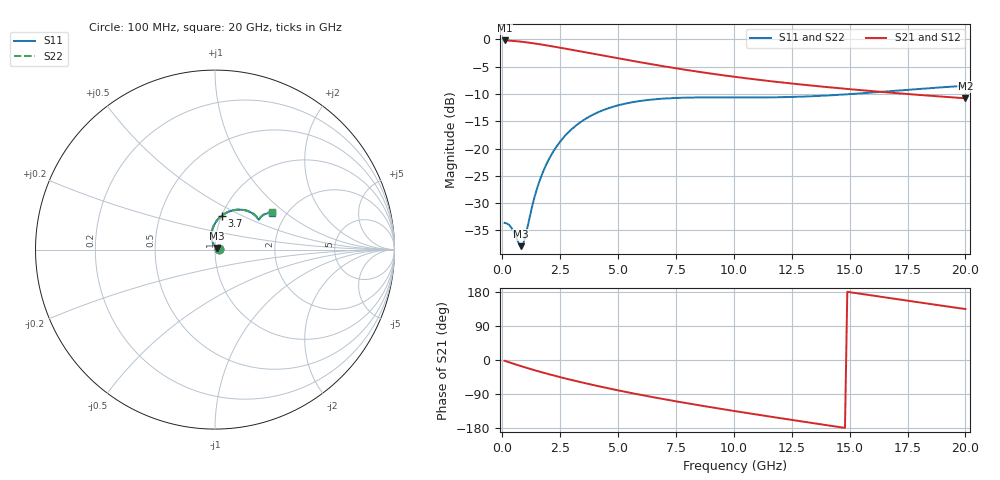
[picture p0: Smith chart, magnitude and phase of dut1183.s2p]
! Touchstone file exported from HFSS 2024.1.0
!  File:  C:/UserFiles/LocalFiles/RDL_TSV_Batchsim/temp_RDL_TSV_1183_1780126179.aedt
!  Generated:  03:42:33 PM May 30, 2026
!  Design:  RDL_TSV
!  Project:  temp_RDL_TSV_1183_1780126179
!  Setup:  Setup1
!  Solution:  Sweep
! Variables:
!  dtsv = 11.14um
!  hbump = 3um
!  htsv = 85.76um
!  ldown = 195.4um
!  lrdl = 616.46um
!  p = 40
!  p1 = 53.47um
!  rhole = 10um
!  subl = 3052.04um
!  t = 450um
!  tdown = 4.84um
!  trdl = 2.19um
!  viad = 10um
!  wdown = 16.79um
!  wrdl = 21.43um
!  xbump = 18um
# GHz S MA R 50.000000
! Terminal data exported
! Port[1] = TM1_1_T1
! Port[2] = TM1_4_T1
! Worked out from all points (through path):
!   200 points, 100 MHz to 20 GHz, reference 50 ohm
!   highest |S21| = -0.20 dB at 100 MHz (marker M1); lowest = -10.8 dB at 20 GHz (marker M2)
!   group delay of S21, straight-line fit = 29.4 ps
!   lowest |S11| = -37.9 dB at 800 MHz (marker M3), VSWR 1.03, Z = 50.9 + j0.962 ohm
!   |S11| at or under -10 dB: start of sweep to 15.1 GHz
!   |S22| runs from -38.0 to -8.5 dB; largest |S21 - S12| = 3.1e-14
!   S11 on the Smith chart (normalised r, x): 100 MHz: 1.04, +0.00; 3.7 GHz: 1.00, +0.39; 20 GHz: 1.68, +0.80
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0.1  0.02089 2.6  0.9775 -2.1  0.9775 -2.1  0.02087 2.6
! Gamma 0 0 0 0
! Port Impedance 50 0 50 0
0.4  0.01879 10.1  0.9705 -8.2  0.9705 -8.2  0.01873 10.0
0.8  0.01278 47.8  0.9535 -16.0  0.9535 -16.0  0.01265 48.1
0.9  0.01336 66.5  0.9482 -17.9  0.9482 -17.9  0.01326 67.1
1  0.01576 82.8  0.9426 -19.8  0.9426 -19.8  0.01571 83.5
1.3  0.03028 104.9  0.924 -25.3  0.924 -25.3  0.03037 105.3
1.5  0.04303 107.8  0.9106 -28.8  0.9106 -28.8  0.0432 108.2
1.9  0.0715 105.6  0.8824 -35.6  0.8824 -35.6  0.07181 105.8
2.2  0.09379 101.5  0.8606 -40.5  0.8606 -40.5  0.09419 101.7
2.6  0.1231 95.2  0.8316 -46.8  0.8316 -46.8  0.1236 95.4
3  0.1507 88.9  0.803 -52.9  0.803 -52.9  0.1514 89.0
3.5  0.1819 81.3  0.768 -60.1  0.768 -60.1  0.1827 81.5
3.7  0.1931 78.5  0.7544 -62.9  0.7544 -62.9  0.1939 78.6
5  0.2489 62.6  0.6714 -80.1  0.6714 -80.1  0.2499 62.7
5.9  0.2719 54.1  0.6204 -91.1  0.6204 -91.1  0.273 54.2
6.8  0.2853 47.5  0.575 -101.4  0.575 -101.4  0.2864 47.6
8.4  0.2939 39.5  0.5078 -118.5  0.5078 -118.5  0.2951 39.6
10.1  0.294 35.3  0.4523 -135.4  0.4523 -135.4  0.2951 35.4
11.7  0.2947 34.3  0.4115 -150.6  0.4115 -150.6  0.2958 34.4
13.4  0.3017 34.7  0.3768 -166.4  0.3768 -166.4  0.3028 34.9
16.7  0.335 35.5  0.326 163.7  0.326 163.7  0.3364 35.7
20  0.3761 33.1  0.2888 134.4  0.2888 134.4  0.378 33.3
